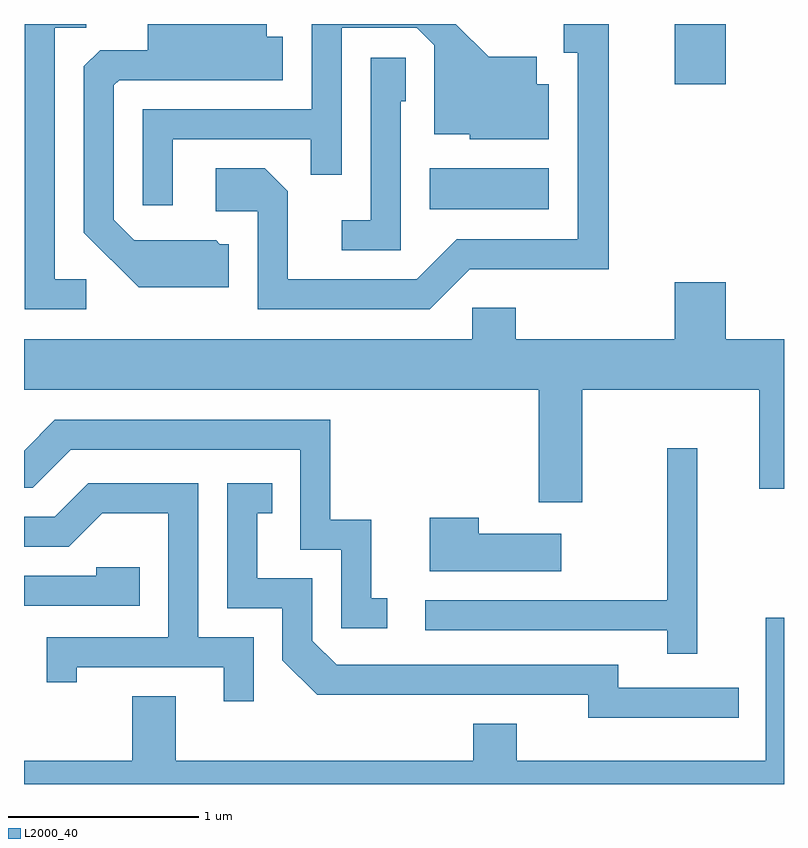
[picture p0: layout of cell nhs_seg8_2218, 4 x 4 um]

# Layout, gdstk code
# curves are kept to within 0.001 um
import gdstk
lib = gdstk.Library(unit=1e-6, precision=1e-09)
def R(c, l, rs):  # rectangles x0, y0, x1, y1
    for r in rs: c.add(gdstk.rectangle(r[:2], r[2:], *l))
def P(c, l, *ps):  # polygons
    for p in ps: c.add(gdstk.Polygon(p, *l))
L2000_40 = (2000, 40)

nhs_seg8_2218 = lib.new_cell('nhs_seg8_2218')
R(nhs_seg8_2218, L2000_40, [(253.746,1837.366,254.374,1837.584), (255.036,1838.026,255.304,1838.342)])
P(nhs_seg8_2218, L2000_40, [(253.957,1837.051),(254.689,1837.051),(254.689,1838.342),(254.453,1838.342),(254.453,1838.191),(254.526,1838.191),(254.526,1837.209),(253.889,1837.209),(253.679,1836.999),(252.999,1836.999),(252.999,1837.462),(252.877,1837.584),(252.621,1837.584),(252.621,1837.356),(252.841,1837.356),(252.841,1836.841),(253.747,1836.841)],
  [(252.689,1837.184),(252.642,1837.184),(252.622,1837.204),(252.192,1837.204),(252.084,1837.312),(252.084,1838.019),(252.112,1838.046),(252.974,1838.046),(252.974,1838.274),(252.889,1838.274),(252.889,1838.342),(252.261,1838.342),(252.261,1838.204),(252.012,1838.204),(251.926,1838.119),(251.926,1837.244),(252.214,1836.956),(252.689,1836.956)],
  [(252.394,1837.736),(253.121,1837.736),(253.121,1837.548),(253.284,1837.548),(253.284,1838.321),(253.679,1838.321),(253.771,1838.229),(253.771,1837.761),(253.956,1837.761),(253.956,1837.736),(254.374,1837.736),(254.374,1838.024),(254.309,1838.024),(254.309,1838.169),(254.057,1838.169),(253.884,1838.342),(253.126,1838.342),(253.126,1837.894),(252.236,1837.894),(252.236,1837.388),(252.394,1837.388)],
  [(251.938,1836.999),(251.774,1836.999),(251.774,1838.321),(251.938,1838.321),(251.938,1838.342),(251.616,1838.342),(251.616,1836.841),(251.938,1836.841)],
  [(253.594,1837.936),(253.619,1837.936),(253.619,1838.164),(253.436,1838.164),(253.436,1837.309),(253.283,1837.309),(253.283,1837.151),(253.594,1837.151)],
  [(254.549,1836.416),(255.481,1836.416),(255.481,1835.896),(255.611,1835.896),(255.611,1836.684),(255.304,1836.684),(255.304,1836.984),(255.036,1836.984),(255.036,1836.684),(254.199,1836.684),(254.199,1836.849),(253.971,1836.849),(253.971,1836.684),(251.611,1836.684),(251.611,1836.416),(254.321,1836.416),(254.321,1835.826),(254.549,1835.826)],
  [(253.523,1835.319),(253.439,1835.319),(253.439,1835.734),(253.224,1835.734),(253.224,1836.259),(251.774,1836.259),(251.611,1836.096),(251.611,1835.901),(251.657,1835.901),(251.857,1836.101),(253.066,1836.101),(253.066,1835.576),(253.281,1835.576),(253.281,1835.161),(253.523,1835.161)],
  [(255.154,1836.108),(254.996,1836.108),(254.996,1835.309),(253.723,1835.309),(253.723,1835.151),(254.996,1835.151),(254.996,1835.028),(255.154,1835.028)],
  [(252.819,1835.114),(252.529,1835.114),(252.529,1835.924),(251.949,1835.924),(251.774,1835.749),(251.611,1835.749),(251.611,1835.591),(251.847,1835.591),(252.022,1835.766),(252.371,1835.766),(252.371,1835.114),(251.731,1835.114),(251.731,1834.878),(251.889,1834.878),(251.889,1834.956),(252.661,1834.956),(252.661,1834.778),(252.819,1834.778)],
  [(255.373,1834.849),(254.739,1834.849),(254.739,1834.969),(253.257,1834.969),(253.129,1835.097),(253.129,1835.424),(252.839,1835.424),(252.839,1835.766),(252.918,1835.766),(252.918,1835.924),(252.681,1835.924),(252.681,1835.266),(252.971,1835.266),(252.971,1834.994),(253.154,1834.811),(254.581,1834.811),(254.581,1834.691),(255.373,1834.691)],
  [(254.439,1835.659),(254.004,1835.659),(254.004,1835.744),(253.746,1835.744),(253.746,1835.461),(254.439,1835.461)],
  [(252.219,1835.484),(251.991,1835.484),(251.991,1835.439),(251.611,1835.439),(251.611,1835.281),(252.219,1835.281)],
  [(255.611,1835.218),(255.516,1835.218),(255.516,1834.464),(254.204,1834.464),(254.204,1834.659),(253.976,1834.659),(253.976,1834.464),(252.409,1834.464),(252.409,1834.804),(252.181,1834.804),(252.181,1834.464),(251.611,1834.464),(251.611,1834.342),(255.611,1834.342)])

lib.write_gds('nhs_seg8_2218.gds')
